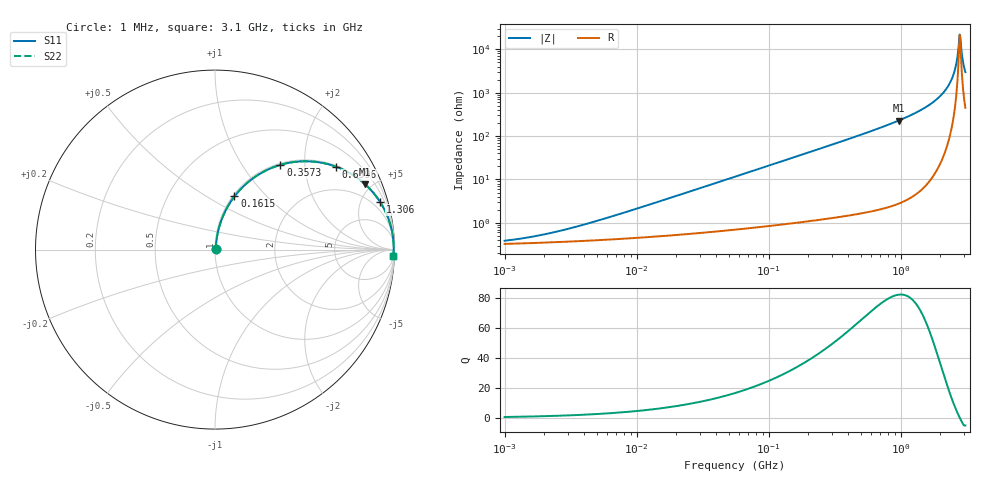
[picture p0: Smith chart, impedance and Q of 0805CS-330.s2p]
# MHz S MA R 50
!Freq  MagS11  AngS11  MagS21  AngS21  MagS12  AngS12  MagS22  AngS22
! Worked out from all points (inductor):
!   801 points, 1 MHz to 3.1 GHz, reference 50 ohm
!   read as one part in series: L = 33 nH near 5.922 MHz
!   highest Q = 82.1 at 966.3 MHz (marker M1), where L = 37.4 nH
!   self-resonance near 2.804 GHz
!   S11 on the Smith chart (normalised r, x): 1 MHz: 1.01, +0.00; 161.5 MHz: 1.02, +0.67; 357.3 MHz: 1.03, +1.51; 659.6 MHz: 1.04, +2.89; 1.306 GHz: 1.09, +6.91; 3.1 GHz: 10, -59
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1  0.00386 32.3  0.9967 -0.1  0.9967 -0.1  0.00386 32.3
1.902431  0.005247 48.3  0.9965 -0.2  0.9965 -0.2  0.005247 48.3
3.844174  0.008805 63.9  0.9962 -0.5  0.9962 -0.5  0.008805 63.9
14.62992  0.03056 79.1  0.9947 -1.7  0.9947 -1.7  0.03056 79.1
55.67764  0.1142 80.0  0.9866 -6.5  0.9866 -6.5  0.1142 80.0
161.5423  0.3159 69.9  0.9395 -18.4  0.9395 -18.4  0.3159 69.9
214.0346  0.404 64.7  0.9047 -23.8  0.9047 -23.8  0.404 64.7
357.3208  0.5964 52.3  0.7918 -36.6  0.7918 -36.6  0.5964 52.3
659.5908  0.8176 34.4  0.5649 -54.8  0.5649 -54.8  0.8176 34.4
814.5595  0.8744 28.3  0.4743 -61.0  0.4743 -61.0  0.8744 28.3
966.305  0.9112 23.6  0.4011 -65.7  0.4011 -65.7  0.9112 23.6
1306.292  0.9572 16.1  0.2772 -73.2  0.2772 -73.2  0.9572 16.1
1819.948  0.9852 8.7  0.1518 -80.1  0.1518 -80.1  0.9852 8.7
2247.539  0.9935 4.4  0.07721 -83.0  0.07721 -83.0  0.9935 4.4
2411.33  0.9949 3.0  0.05294 -83.0  0.05294 -83.0  0.9949 3.0
2535.582  0.9955 2.0  0.03577 -81.7  0.03577 -81.7  0.9955 2.0
2613.186  0.9957 1.4  0.02555 -79.5  0.02555 -79.5  0.9957 1.4
2747.839  0.9957 0.5  0.00913 -61.7  0.00913 -61.7  0.9957 0.5
2803.623  0.9956 0.1  0.004542 -15.4  0.004542 -15.4  0.9956 0.1
2889.431  0.9954 -0.5  0.01015 62.8  0.01015 62.8  0.9954 -0.5
3007.939  0.9949 -1.3  0.02329 76.8  0.02329 76.8  0.9949 -1.3
3100  0.9944 -1.9  0.03346 79.5  0.03346 79.5  0.9944 -1.9
